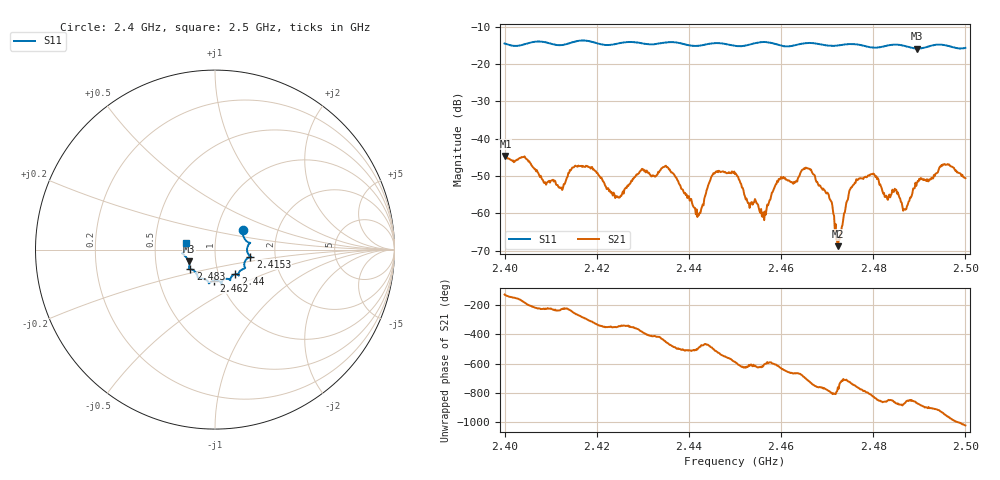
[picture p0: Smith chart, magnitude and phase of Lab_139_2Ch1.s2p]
# Hz S RI R 50
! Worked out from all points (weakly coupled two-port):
!   601 points, 2.4 GHz to 2.5 GHz, reference 50 ohm
!   highest |S21| = -44.60 dB at 2.4002 GHz (marker M1); lowest = -68.8 dB at 2.4723 GHz (marker M2)
!   lowest |S11| = -15.9 dB at 2.4895 GHz (marker M3), VSWR 1.38, Z = 36.9 - j5 ohm
!   |S11| at or under -10 dB: start of sweep to end of sweep
!   S12 and S22 are empty: the file has one direction only
!   S11 on the Smith chart (normalised r, x): 2.4 GHz: 1.33, +0.29; 2.4153 GHz: 1.48, -0.12; 2.44 GHz: 1.20, -0.34; 2.462 GHz: 0.93, -0.33; 2.483 GHz: 0.74, -0.17; 2.5 GHz: 0.72, +0.06
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2.4e9  0.1553 0.1065  -0.00372 -0.00451  0 0  0 0
2.400167e9  0.1551 0.1041  -0.00408 -0.00424  0 0  0 0
2.412167e9  0.1783 -0.00308  -0.00129 0.00175  0 0  0 0
2.415333e9  0.1963 -0.0386  -0.00079 0.00428  0 0  0 0
2.416667e9  0.2019 -0.0428  0.000866 0.00423  0 0  0 0
2.4245e9  0.1637 -0.0917  0.00166 0.000311  0 0  0 0
2.433333e9  0.1312 -0.1336  0.0019 -0.00305  0 0  0 0
2.44e9  0.114 -0.1369  -0.00146 -0.000887  0 0  0 0
2.442e9  0.0955 -0.1468  -0.000711 -0.000685  0 0  0 0
2.445333e9  0.0847 -0.1695  -0.00268 -0.00219  0 0  0 0
2.45e9  0.0647 -0.1627  -0.00223 0.0025  0 0  0 0
2.456167e9  0.0384 -0.193  -0.000271 0.000999  0 0  0 0
2.462e9  -0.00504 -0.1732  0.0015 0.00218  0 0  0 0
2.466667e9  -0.0342 -0.1876  0.00344 -0.00104  0 0  0 0
2.4705e9  -0.0529 -0.1674  0.000577 -0.00147  0 0  0 0
2.472333e9  -0.0734 -0.1608  0.000273 -0.00024  0 0  0 0
2.476667e9  -0.0957 -0.155  0.00203 -0.00194  0 0  0 0
2.483e9  -0.1376 -0.1096  -0.00114 -0.00111  0 0  0 0
2.483333e9  -0.1401 -0.1094  -0.00102 -0.00133  0 0  0 0
2.487e9  -0.1434 -0.0972  -0.000921 -0.000638  0 0  0 0
2.4895e9  -0.1465 -0.066  -0.00222 -0.00131  0 0  0 0
2.5e9  -0.1595 0.0392  0.00156 0.00251  0 0  0 0
